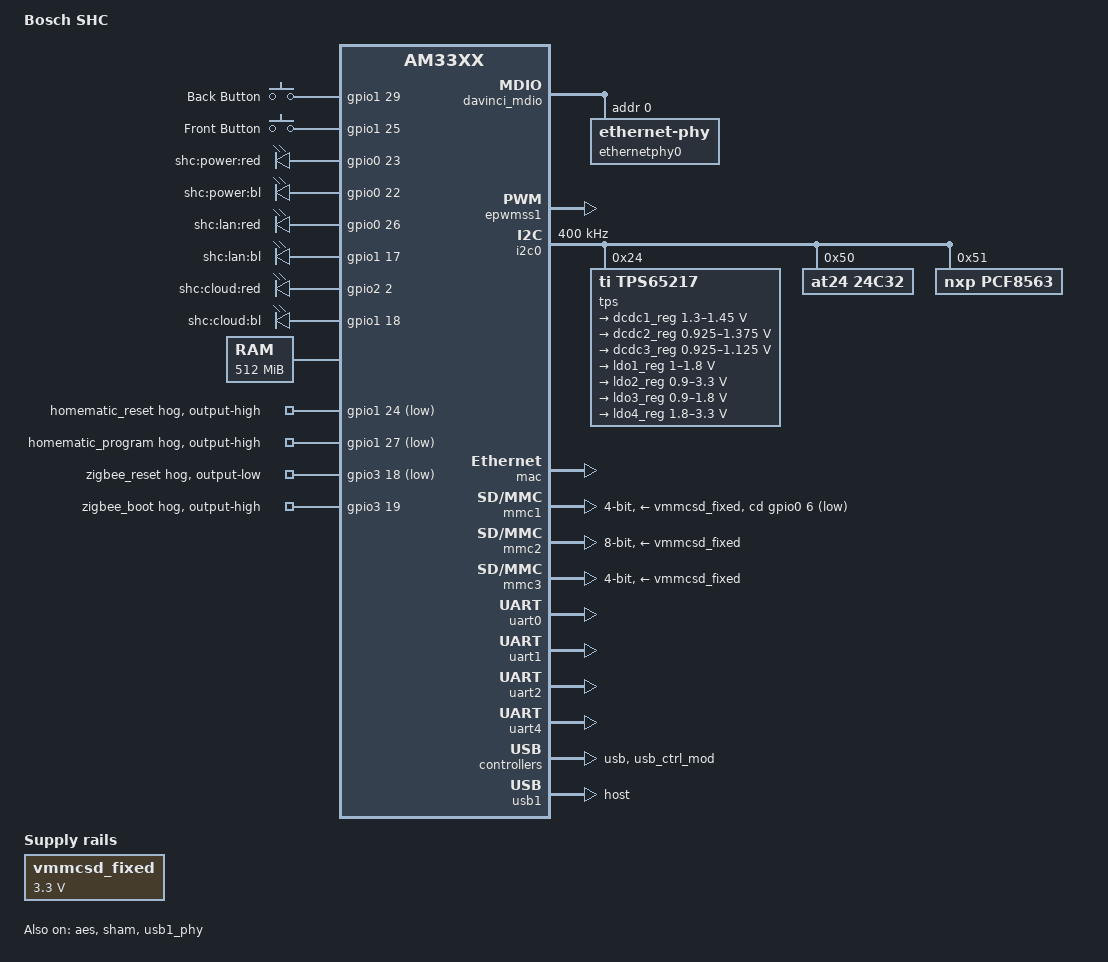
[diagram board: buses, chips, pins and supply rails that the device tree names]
/*
 * support for the bosch am335x based shc c3 board
 *
 * Copyright (C) 2015 Heiko Schocher <hs@denx.de>
 *
 * This program is free software; you can redistribute it and/or modify
 * it under the terms of the GNU General Public License version 2 as
 * published by the Free Software Foundation.
 */
/dts-v1/;

#include "am33xx.dtsi"
#include <dt-bindings/input/input.h>

/ {
	model = "Bosch SHC";
	compatible = "ti,am335x-shc", "ti,am335x-bone", "ti,am33xx";

	aliases {
		mmcblk0 = &mmc1;
		mmcblk1 = &mmc2;
	};

	cpus {
		cpu@0 {
			/*
			 * To consider voltage drop between PMIC and SoC,
			 * tolerance value is reduced to 2% from 4% and
			 * voltage value is increased as a precaution.
			 */
			operating-points = <
				/* kHz    uV */
				594000  1225000
				294000  1125000
			>;
			voltage-tolerance = <2>; /* 2 percentage */
			cpu0-supply = <&dcdc2_reg>;
		};
	};

	gpio_keys {
		compatible = "gpio-keys";

		back_button {
			label = "Back Button";
			gpios = <&gpio1 29 GPIO_ACTIVE_HIGH>;
			linux,code = <KEY_BACK>;
			debounce-interval = <1000>;
			gpio-key,wakeup;
		};

		front_button {
			label = "Front Button";
			gpios = <&gpio1 25 GPIO_ACTIVE_HIGH>;
			linux,code = <KEY_FRONT>;
			debounce-interval = <1000>;
			gpio-key,wakeup;
		};
	};

	leds {
		pinctrl-names = "default";
		pinctrl-0 = <&user_leds_s0>;

		compatible = "gpio-leds";

		led@1 {
			label = "shc:power:red";
			gpios = <&gpio0 23 GPIO_ACTIVE_HIGH>;
			default-state = "off";
		};

		led@2 {
			label = "shc:power:bl";
			gpios = <&gpio0 22 GPIO_ACTIVE_HIGH>;
			linux,default-trigger = "timer";
			default-state = "on";
		};

		led@3 {
			label = "shc:lan:red";
			gpios = <&gpio0 26 GPIO_ACTIVE_HIGH>;
			default-state = "off";
		};

		led@4 {
			label = "shc:lan:bl";
			gpios = <&gpio1 17 GPIO_ACTIVE_HIGH>;
			default-state = "off";
		};

		led@5 {
			label = "shc:cloud:red";
			gpios = <&gpio2 2 GPIO_ACTIVE_HIGH>;
			default-state = "off";
		};

		led@6 {
			label = "shc:cloud:bl";
			gpios = <&gpio1 18 GPIO_ACTIVE_HIGH>;
			default-state = "off";
		};
	};

	memory {
		device_type = "memory";
		reg = <0x80000000 0x20000000>; /* 512 MB */
	};

	vmmcsd_fixed: fixedregulator@0 {
		compatible = "regulator-fixed";
		regulator-name = "vmmcsd_fixed";
		regulator-min-microvolt = <3300000>;
		regulator-max-microvolt = <3300000>;
	};
};

&aes {
	status = "okay";
};

&cppi41dma  {
	status = "okay";
};

&davinci_mdio {
	pinctrl-names = "default", "sleep";
	pinctrl-0 = <&davinci_mdio_default>;
	pinctrl-1 = <&davinci_mdio_sleep>;
	status = "okay";

	ethernetphy0: ethernet-phy@0 {
		reg = <0>;
		smsc,disable-energy-detect;
	};
};

&epwmss1 {
	status = "okay";

	ehrpwm1: ehrpwm@48302200 {
		pinctrl-names = "default";
		pinctrl-0 = <&ehrpwm1_pins>;
		status = "okay";
	};
};

&gpio1 {
	hmtc_rst {
		gpio-hog;
		gpios = <24 GPIO_ACTIVE_LOW>;
		output-high;
		line-name = "homematic_reset";
	};

	hmtc_prog {
		gpio-hog;
		gpios = <27 GPIO_ACTIVE_LOW>;
		output-high;
		line-name = "homematic_program";
	};
};

&gpio3 {
	zgb_rst {
		gpio-hog;
		gpios = <18 GPIO_ACTIVE_LOW>;
		output-low;
		line-name = "zigbee_reset";
	};

	zgb_boot {
		gpio-hog;
		gpios = <19 GPIO_ACTIVE_HIGH>;
		output-high;
		line-name = "zigbee_boot";
	};
};

&i2c0 {
	pinctrl-names = "default";
	pinctrl-0 = <&i2c0_pins>;
	status = "okay";
	clock-frequency = <400000>;

	tps: tps@24 {
		reg = <0x24>;
	};

	at24@50 {
		compatible = "at24,24c32";
		pagesize = <32>;
		reg = <0x50>;
	};

	pcf8563@51 {
		compatible = "nxp,pcf8563";
		reg = <0x51>;
	};
};

&mac {
	pinctrl-names = "default", "sleep";
	pinctrl-0 = <&cpsw_default>;
	pinctrl-1 = <&cpsw_sleep>;
	status = "okay";
	slaves = <1>;
	cpsw_emac0: slave@4a100200  {
		phy_id = <&davinci_mdio>, <0>;
		phy-mode = "mii";
		phy-handle = <&ethernetphy0>;
	};
};

&mmc1 {
	pinctrl-names = "default";
	pinctrl-0 = <&mmc1_pins>;
	bus-width = <0x4>;
	cd-gpios = <&gpio0 6 GPIO_ACTIVE_HIGH>;
	cd-inverted;
	max-frequency = <26000000>;
	vmmc-supply = <&vmmcsd_fixed>;
	status = "okay";
};

&mmc2 {
	pinctrl-names = "default";
	pinctrl-0 = <&emmc_pins>;
	bus-width = <8>;
	max-frequency = <26000000>;
	sd-uhs-sdr25;
	vmmc-supply = <&vmmcsd_fixed>;
	status = "okay";
};

&mmc3 {
	pinctrl-names = "default";
	pinctrl-0 = <&mmc3_pins>;
	bus-width = <4>;
	cap-power-off-card;
	max-frequency = <26000000>;
	sd-uhs-sdr25;
	vmmc-supply = <&vmmcsd_fixed>;
	status = "okay";
};

&rtc {
	ti,no-init;
};

&sham {
	status = "okay";
};

&tps {
	compatible = "ti,tps65217";
	ti,pmic-shutdown-controller;

	regulators {
		#address-cells = <1>;
		#size-cells = <0>;

		dcdc1_reg: regulator@0 {
			reg = <0>;
			regulator-name = "vdds_dpr";
			regulator-compatible = "dcdc1";
			regulator-min-microvolt = <1300000>;
			regulator-max-microvolt = <1450000>;
			regulator-boot-on;
			regulator-always-on;
		};

		dcdc2_reg: regulator@1 {
			reg = <1>;
			/*
			 * VDD_MPU voltage limits 0.95V - 1.26V with
			 * +/-4% tolerance
			 */
			regulator-compatible = "dcdc2";
			regulator-name = "vdd_mpu";
			regulator-min-microvolt = <925000>;
			regulator-max-microvolt = <1375000>;
			regulator-boot-on;
			regulator-always-on;
			regulator-ramp-delay = <70000>;
		};

		dcdc3_reg: regulator@2 {
			reg = <2>;
			/*
			 * VDD_CORE voltage limits 0.95V - 1.1V with
			 * +/-4% tolerance
			 */
			regulator-name = "vdd_core";
			regulator-compatible = "dcdc3";
			regulator-min-microvolt = <925000>;
			regulator-max-microvolt = <1125000>;
			regulator-boot-on;
			regulator-always-on;
		};

		ldo1_reg: regulator@3 {
			reg = <3>;
			regulator-name = "vio,vrtc,vdds";
			regulator-compatible = "ldo1";
			regulator-min-microvolt = <1000000>;
			regulator-max-microvolt = <1800000>;
			regulator-always-on;
		};

		ldo2_reg: regulator@4 {
			reg = <4>;
			regulator-name = "vdd_3v3aux";
			regulator-compatible = "ldo2";
			regulator-min-microvolt = <900000>;
			regulator-max-microvolt = <3300000>;
			regulator-always-on;
		};

		ldo3_reg: regulator@5 {
			reg = <5>;
			regulator-name = "vdd_1v8";
			regulator-compatible = "ldo3";
			regulator-min-microvolt = <900000>;
			regulator-max-microvolt = <1800000>;
			regulator-always-on;
		};

		ldo4_reg: regulator@6 {
			reg = <6>;
			regulator-name = "vdd_3v3a";
			regulator-compatible = "ldo4";
			regulator-min-microvolt = <1800000>;
			regulator-max-microvolt = <3300000>;
			regulator-always-on;
		};
	};
};

&uart0 {
	pinctrl-names = "default";
	pinctrl-0 = <&uart0_pins>;
	status = "okay";
};

&uart1 {
	pinctrl-names = "default";
	pinctrl-0 = <&uart1_pins>;
	status = "okay";
};

&uart2 {
	pinctrl-names = "default";
	pinctrl-0 = <&uart2_pins>;
	status = "okay";
};

&uart4 {
	pinctrl-names = "default";
	pinctrl-0 = <&uart4_pins>;
	status = "okay";
};

&usb {
	status = "okay";
};

&usb_ctrl_mod {
	status = "okay";
};

&usb1_phy {
	status = "okay";
};

&usb1 {
	status = "okay";
	dr_mode = "host";
};

&am33xx_pinmux {
	pinctrl-names = "default";
	pinctrl-0 = <&clkout2_pin>;

	clkout2_pin: pinmux_clkout2_pin {
		pinctrl-single,pins = <
			/* xdma_event_intr1.clkout2 */
			0x1b4 (PIN_INPUT | MUX_MODE6)
		>;
	};

	cpsw_default: cpsw_default {
		pinctrl-single,pins = <
			/* Slave 1 */
			0x110 (PIN_INPUT_PULLDOWN | MUX_MODE0)
			0x114 (PIN_OUTPUT_PULLDOWN | MUX_MODE0)
			0x118 (PIN_INPUT_PULLDOWN | MUX_MODE0)
			0x11c (PIN_OUTPUT_PULLDOWN | MUX_MODE0)
			0x120 (PIN_OUTPUT_PULLDOWN | MUX_MODE0)
			0x124 (PIN_INPUT_PULLDOWN | MUX_MODE0)
			0x128 (PIN_INPUT_PULLDOWN | MUX_MODE0)
			0x12c (PIN_INPUT_PULLUP | MUX_MODE0)
			0x130 (PIN_INPUT_PULLDOWN | MUX_MODE0)
			0x134 (PIN_INPUT_PULLDOWN | MUX_MODE0)
			0x138 (PIN_INPUT_PULLDOWN | MUX_MODE0)
			0x13c (PIN_INPUT_PULLDOWN | MUX_MODE0)
			0x140 (PIN_INPUT_PULLDOWN | MUX_MODE0)
		>;
	};

	cpsw_sleep: cpsw_sleep {
		pinctrl-single,pins = <
			/* Slave 1 reset value */
			0x110 (PIN_INPUT_PULLDOWN | MUX_MODE7)
			0x114 (PIN_INPUT_PULLDOWN | MUX_MODE7)
			0x118 (PIN_INPUT_PULLDOWN | MUX_MODE7)
			0x11c (PIN_INPUT_PULLDOWN | MUX_MODE7)
			0x120 (PIN_INPUT_PULLDOWN | MUX_MODE7)
			0x124 (PIN_INPUT_PULLDOWN | MUX_MODE7)
			0x128 (PIN_INPUT_PULLDOWN | MUX_MODE7)
			0x12c (PIN_INPUT_PULLDOWN | MUX_MODE7)
			0x130 (PIN_INPUT_PULLDOWN | MUX_MODE7)
			0x134 (PIN_INPUT_PULLDOWN | MUX_MODE7)
			0x138 (PIN_INPUT_PULLDOWN | MUX_MODE7)
			0x13c (PIN_INPUT_PULLDOWN | MUX_MODE7)
			0x140 (PIN_INPUT_PULLDOWN | MUX_MODE7)
		>;
	};

	davinci_mdio_default: davinci_mdio_default {
		pinctrl-single,pins = <
			/* mdio_data.mdio_data */
			0x148 (PIN_INPUT_PULLUP | SLEWCTRL_FAST | MUX_MODE0)
			/* mdio_clk.mdio_clk */
			0x14c (PIN_OUTPUT_PULLUP | MUX_MODE0)
		>;
	};

	davinci_mdio_sleep: davinci_mdio_sleep {
		pinctrl-single,pins = <
			/* MDIO reset value */
			0x148 (PIN_INPUT_PULLDOWN | MUX_MODE7)
			0x14c (PIN_INPUT_PULLDOWN | MUX_MODE7)
		>;
	};

	ehrpwm1_pins: pinmux_ehrpwm1 {
		pinctrl-single,pins = <
			0x4c (PIN_OUTPUT | MUX_MODE6) /* gpmc_a3.gpio1_19 */
		>;
	};

	emmc_pins: pinmux_emmc_pins {
		pinctrl-single,pins = <
			0x80 (PIN_INPUT | MUX_MODE2)
			0x84 (PIN_INPUT_PULLUP | MUX_MODE2)
			0x00 (PIN_INPUT_PULLUP | MUX_MODE1)
			0x04 (PIN_INPUT_PULLUP | MUX_MODE1)
			0x08 (PIN_INPUT_PULLUP | MUX_MODE1)
			0x0c (PIN_INPUT_PULLUP | MUX_MODE1)
			0x10 (PIN_INPUT_PULLUP | MUX_MODE1)
			0x14 (PIN_INPUT_PULLUP | MUX_MODE1)
			0x18 (PIN_INPUT_PULLUP | MUX_MODE1)
			0x1c (PIN_INPUT_PULLUP | MUX_MODE1)
		>;
	};

	i2c0_pins: pinmux_i2c0_pins {
		pinctrl-single,pins = <
			0x188 (PIN_INPUT | MUX_MODE0)
			0x18c (PIN_INPUT | MUX_MODE0)
		>;
	};

	mmc1_pins: pinmux_mmc1_pins {
		pinctrl-single,pins = <
			0x160 (PIN_INPUT | MUX_MODE5)
		>;
	};

	mmc3_pins: pinmux_mmc3_pins {
		pinctrl-single,pins = <
			0x30 (PIN_INPUT | MUX_MODE3)
			0x34 (PIN_INPUT | MUX_MODE3)
			0x38 (PIN_INPUT | MUX_MODE3)
			0x3c (PIN_INPUT | MUX_MODE3)
			0x88 (PIN_INPUT | MUX_MODE3)
			0x8c (PIN_INPUT | MUX_MODE3)
		>;
	};

	uart0_pins: pinmux_uart0_pins {
		pinctrl-single,pins = <
			0x168 (PIN_INPUT_PULLDOWN | MUX_MODE0)
			0x16c (PIN_OUTPUT | MUX_MODE0)
			0x170 (PIN_INPUT_PULLDOWN | MUX_MODE0)
			0x174 (PIN_OUTPUT | MUX_MODE0)
		>;
	};

	uart1_pins: pinmux_uart1 {
		pinctrl-single,pins = <
			0x178 (PIN_INPUT_PULLDOWN | MUX_MODE0)
			0x17C (PIN_OUTPUT | MUX_MODE0)
			0x180 (PIN_INPUT | MUX_MODE0)
			0x184 (PIN_OUTPUT | MUX_MODE0)
		>;
	};

	uart2_pins: pinmux_uart2_pins {
		pinctrl-single,pins = <
			0x150 (PIN_INPUT | MUX_MODE1)
			0x154 (PIN_OUTPUT | MUX_MODE1)
		>;
	};

	uart4_pins: pinmux_uart4_pins {
		pinctrl-single,pins = <
			0x70 (PIN_INPUT_PULLUP | MUX_MODE6)
			0x74 (PIN_OUTPUT_PULLUP | MUX_MODE6)
		>;
	};

	user_leds_s0: user_leds_s0 {
		pinctrl-single,pins = <
			0x20 (PIN_OUTPUT | MUX_MODE7)
			0x24 (PIN_OUTPUT | MUX_MODE7)
			0x28 (PIN_OUTPUT | MUX_MODE7)
			0x2c (PIN_OUTPUT | MUX_MODE7)
			0x40 (PIN_OUTPUT | MUX_MODE7)
			0x44 (PIN_OUTPUT | MUX_MODE7)
			0x48 (PIN_OUTPUT | MUX_MODE7)
			0x50 (PIN_OUTPUT_PULLDOWN | MUX_MODE7)
			0x54 (PIN_OUTPUT | MUX_MODE7)
			0x58 (PIN_OUTPUT | MUX_MODE7)
			0x5c (PIN_OUTPUT_PULLUP | MUX_MODE7)
			0x60 (PIN_INPUT | MUX_MODE7)
			0x64 (PIN_INPUT | MUX_MODE7)
			0x68 (PIN_INPUT | MUX_MODE7)
			0x6c (PIN_INPUT | MUX_MODE7)
			0x78 (PIN_OUTPUT_PULLUP | MUX_MODE7)
			0x7c (PIN_INPUT | MUX_MODE7)
			0x90 (PIN_OUTPUT | MUX_MODE7)
			0x94 (PIN_INPUT | MUX_MODE7)
			0x98 (PIN_OUTPUT | MUX_MODE7)
			0x9c (PIN_OUTPUT | MUX_MODE7)
			0xa0 (PIN_OUTPUT | MUX_MODE7)
			0xa4 (PIN_OUTPUT | MUX_MODE7)
			0xa8 (PIN_OUTPUT | MUX_MODE7)
			0xac (PIN_OUTPUT | MUX_MODE7)
			0xb0 (PIN_OUTPUT | MUX_MODE7)
			0xb4 (PIN_OUTPUT | MUX_MODE7)
			0xb8 (PIN_OUTPUT | MUX_MODE7)
			0xbc (PIN_OUTPUT | MUX_MODE7)
			0xc0 (PIN_OUTPUT | MUX_MODE7)
			0xc4 (PIN_OUTPUT | MUX_MODE7)
			0xc8 (PIN_OUTPUT | MUX_MODE7)
			0xcc (PIN_OUTPUT | MUX_MODE7)
			0xd0 (PIN_OUTPUT | MUX_MODE7)
			0xd4 (PIN_OUTPUT | MUX_MODE7)
			0xd8 (PIN_OUTPUT | MUX_MODE7)
			0xdc (PIN_OUTPUT | MUX_MODE7)
			0xe0 (PIN_OUTPUT | MUX_MODE7)
			0xe4 (PIN_OUTPUT | MUX_MODE7)
			0xe8 (PIN_OUTPUT | MUX_MODE7)
			0xec (PIN_OUTPUT | MUX_MODE7)
			0x144 (PIN_INPUT_PULLDOWN | MUX_MODE7)
			0x158 (PIN_OUTPUT | MUX_MODE7)
			0x15c (PIN_OUTPUT | MUX_MODE7)
			0x164 (PIN_OUTPUT_PULLUP | MUX_MODE7)
			0x1a0 (PIN_OUTPUT_PULLDOWN | MUX_MODE7)
			0x1a4 (PIN_OUTPUT_PULLDOWN | MUX_MODE7)
			0x1a8 (PIN_INPUT_PULLDOWN | MUX_MODE7)
			0x1ac (PIN_INPUT_PULLUP | MUX_MODE7)
		>;
	};
};
